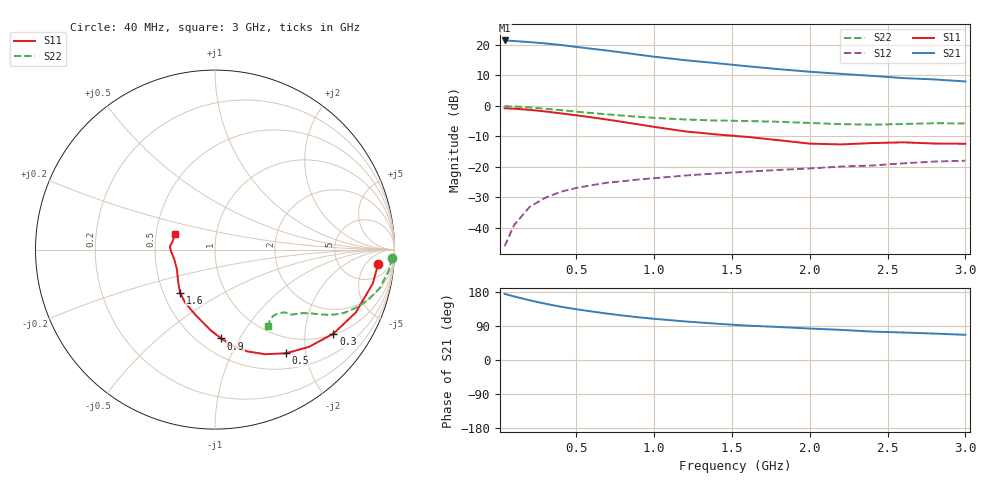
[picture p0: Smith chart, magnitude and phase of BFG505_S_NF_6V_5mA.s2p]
! Filename:  BFG505K.S2P  Version:  3.0
! Philips part #: BFG505  Date: Feb 1992
! Bias condition: Vce=6V, Ic=5mA
! IN LINE PINNING: same data as with cross emitter pinning.
#  MHz  S  MA  R  50
! Freq  S11  S21  S12  S22  !GUM [dB]
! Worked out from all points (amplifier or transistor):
!   21 points, 40 MHz to 3 GHz, reference 50 ohm
!   highest |S21| = 21.4 dB at 40 MHz (marker M1)
!   |S21| within 3 dB of that: start of sweep to 646.2 MHz
!   unconditionally stable (mu >= 1): 1.87 GHz to end of sweep
!   at 300 MHz: K = 0.23, MSG = 25.3 dB, |S12| = -30.2 dB
!   at 1 GHz: K = 0.68, MSG = 19.9 dB, |S12| = -23.7 dB
!   at 3 GHz: K = 1.14, MAG = 10.7 dB, |S12| = -18.0 dB
!   lowest NFmin = 1.60 dB at 900 MHz
!   S11 on the Smith chart (normalised r, x): 40 MHz: 11, -11; 300 MHz: 1.03, -2.79; 500 MHz: 0.73, -1.65; 900 MHz: 0.64, -0.84; 1.6 GHz: 0.61, -0.32; 3 GHz: 0.63, +0.12
40  0.913 -5.0  11.8 174.6  0.005 84.5  0.987 -2.7
100  0.899 -12.2  11.56 167.8  0.011 82.1  0.976 -6.8
200  0.859 -24.1  11.09 157.7  0.022 76.1  0.943 -13.1
300  0.809 -35.4  10.56 148.6  0.031 70.3  0.897 -18.3
400  0.753 -46.1  9.951 140.7  0.039 65.6  0.85 -22.4
500  0.7 -55.6  9.248 134.0  0.045 62.1  0.804 -25.9
600  0.647 -64.3  8.624 128.0  0.05 60.4  0.762 -28.3
700  0.595 -72.4  8.048 122.4  0.055 58.5  0.724 -30.1
800  0.544 -79.6  7.469 117.3  0.058 57.0  0.691 -31.5
900  0.496 -86.0  6.901 112.7  0.062 55.9  0.661 -32.8
1000  0.452 -92.8  6.394 108.7  0.065 55.7  0.635 -33.9
1200  0.381 -106.3  5.598 101.8  0.072 55.4  0.597 -36.4
1400  0.34 -119.2  5.009 95.8  0.078 55.4  0.575 -38.7
1600  0.309 -129.2  4.452 90.7  0.083 56.4  0.563 -40.1
1800  0.273 -138.7  3.996 87.1  0.089 57.5  0.548 -40.7
2000  0.24 -151.8  3.621 83.0  0.094 57.6  0.524 -41.9
2200  0.233 -166.5  3.345 79.5  0.101 57.2  0.501 -44.8
2400  0.245 -177.3  3.098 75.0  0.105 57.8  0.491 -49.0
2600  0.252 176.1  2.847 72.5  0.114 58.9  0.503 -53.0
2800  0.241 169.5  2.709 69.7  0.122 59.0  0.518 -54.8
3000  0.239 158.4  2.512 66.5  0.126 59.7  0.515 -55.3
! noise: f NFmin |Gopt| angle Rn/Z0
900  1.6  0.546  17  0.69
2000  2.2  0.442  44  0.54
